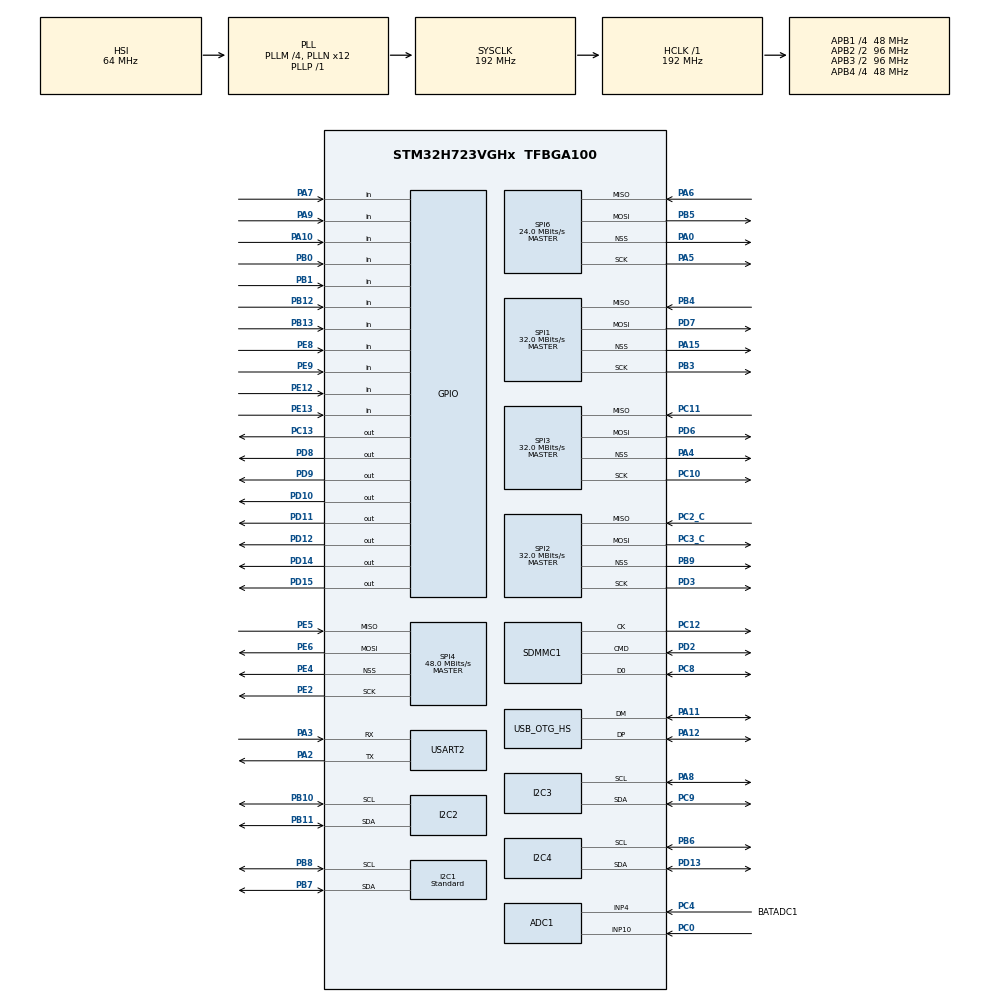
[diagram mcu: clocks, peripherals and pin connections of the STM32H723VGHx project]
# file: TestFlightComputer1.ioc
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ADC1.Channel-5\#ChannelRegularConversion=ADC_CHANNEL_4
ADC1.NbrOfConversionFlag=1
ADC1.OffsetNumber-5\#ChannelRegularConversion=ADC_OFFSET_NONE
ADC1.OffsetSignedSaturation-5\#ChannelRegularConversion=DISABLE
ADC1.Rank-5\#ChannelRegularConversion=1
ADC1.SamplingTime-5\#ChannelRegularConversion=ADC_SAMPLETIME_1CYCLE_5
ADC1.master=1
I2C1.I2C_Speed_Mode=I2C_Standard
I2C1.OwnAddress=0x77
I2C1.Timing=0x20303E5D
I2C2.OwnAddress=0x77
I2C2.Timing=0x20303E5D
I2C3.OwnAddress=0x77
I2C3.Timing=0x20303E5D
I2C4.Timing=0x20303E5D
Mcu.Family=STM32H7
Mcu.Name=STM32H723VGHx
Mcu.Package=TFBGA100
NVIC.PriorityGroup=NVIC_PRIORITYGROUP_4
PA0.Mode=NSS_Signal_Hard_Output
PA0.Signal=SPI6_NSS
PA10.Signal=GPIO_Input
PA11.Mode=Device_Only_FS
PA11.Signal=USB_OTG_HS_DM
PA12.Mode=Device_Only_FS
PA12.Signal=USB_OTG_HS_DP
PA13(JTMS/SWDIO).Mode=Serial_Wire
PA13(JTMS/SWDIO).Signal=DEBUG_JTMS-SWDIO
PA14(JTCK/SWCLK).Mode=Serial_Wire
PA14(JTCK/SWCLK).Signal=DEBUG_JTCK-SWCLK
PA15(JTDI).Mode=NSS_Signal_Hard_Output
PA15(JTDI).Signal=SPI1_NSS
PA2.Mode=Asynchronous
PA2.Signal=USART2_TX
PA3.Mode=Asynchronous
PA3.Signal=USART2_RX
PA4.Mode=NSS_Signal_Hard_Output
PA4.Signal=SPI3_NSS
PA5.Mode=Full_Duplex_Master
PA5.Signal=SPI6_SCK
PA6.Mode=Full_Duplex_Master
PA6.Signal=SPI6_MISO
PA7.Signal=GPIO_Input
PA8.Mode=I2C
PA8.Signal=I2C3_SCL
PA9.Signal=GPIO_Input
PB0.Signal=GPIO_Input
PB1.Signal=GPIO_Input
PB10.Mode=I2C
PB10.Signal=I2C2_SCL
PB11.Mode=I2C
PB11.Signal=I2C2_SDA
PB12.Signal=GPIO_Input
PB13.Signal=GPIO_Input
PB3(JTDO/TRACESWO).Mode=Full_Duplex_Master
PB3(JTDO/TRACESWO).Signal=SPI1_SCK
PB4(NJTRST).Mode=Full_Duplex_Master
PB4(NJTRST).Signal=SPI1_MISO
PB5.Mode=Full_Duplex_Master
PB5.Signal=SPI6_MOSI
PB6.Mode=I2C
PB6.Signal=I2C4_SCL
PB7.Mode=I2C
PB7.Signal=I2C1_SDA
PB8.Mode=I2C
PB8.Signal=I2C1_SCL
PB9.Mode=NSS_Signal_Hard_Output
PB9.Signal=SPI2_NSS
PC0.Signal=ADCx_INP10
PC10.Mode=Full_Duplex_Master
PC10.Signal=SPI3_SCK
PC11.Mode=Full_Duplex_Master
PC11.Signal=SPI3_MISO
PC12.Mode=mmc_1_bit
PC12.Signal=SDMMC1_CK
PC13.Signal=GPIO_Output
PC14-OSC32_IN.Mode=LSE-External-Oscillator
PC14-OSC32_IN.Signal=RCC_OSC32_IN
PC15-OSC32_OUT.Mode=LSE-External-Oscillator
PC15-OSC32_OUT.Signal=RCC_OSC32_OUT
PC2_C.Mode=Full_Duplex_Master
PC2_C.Signal=SPI2_MISO
PC3_C.Mode=Full_Duplex_Master
PC3_C.Signal=SPI2_MOSI
PC4.GPIO_Label=BATADC1
PC4.Signal=ADCx_INP4
PC8.Mode=mmc_1_bit
PC8.Signal=SDMMC1_D0
PC9.Mode=I2C
PC9.Signal=I2C3_SDA
PD10.Signal=GPIO_Output
PD11.Signal=GPIO_Output
PD12.Signal=GPIO_Output
PD13.Mode=I2C
PD13.Signal=I2C4_SDA
PD14.Signal=GPIO_Output
PD15.Signal=GPIO_Output
PD2.Mode=mmc_1_bit
PD2.Signal=SDMMC1_CMD
PD3.Mode=Full_Duplex_Master
PD3.Signal=SPI2_SCK
PD6.Mode=Full_Duplex_Master
PD6.Signal=SPI3_MOSI
PD7.Mode=Full_Duplex_Master
PD7.Signal=SPI1_MOSI
PD8.Signal=GPIO_Output
PD9.Signal=GPIO_Output
PE12.Signal=GPIO_Input
PE13.Signal=GPIO_Input
PE2.Mode=Full_Duplex_Master
PE2.Signal=SPI4_SCK
PE4.Mode=NSS_Signal_Hard_Output
PE4.Signal=SPI4_NSS
PE5.Mode=Full_Duplex_Master
PE5.Signal=SPI4_MISO
PE6.Mode=Full_Duplex_Master
PE6.Signal=SPI4_MOSI
PE8.Signal=GPIO_Input
PE9.Signal=GPIO_Input
PH0-OSC_IN.Mode=HSE-External-Oscillator
PH0-OSC_IN.Signal=RCC_OSC_IN
PH1-OSC_OUT.Mode=HSE-External-Oscillator
PH1-OSC_OUT.Signal=RCC_OSC_OUT
ProjectManager.HeapSize=0x200
ProjectManager.StackSize=0x400
ProjectManager.TargetToolchain=STM32CubeIDE
RCC.ADCFreq_Value=48000000
RCC.APB1Freq_Value=48000000
RCC.APB2Freq_Value=96000000
RCC.APB3Freq_Value=96000000
RCC.APB4Freq_Value=48000000
RCC.CortexFreq_Value=192000000
RCC.D1PPRE=RCC_APB3_DIV2
RCC.D2PPRE1=RCC_APB1_DIV4
RCC.D2PPRE2=RCC_APB2_DIV2
RCC.D3PPRE=RCC_APB4_DIV4
RCC.DIVM1=4
RCC.DIVM2=4
RCC.DIVN1=12
RCC.DIVN2=12
RCC.DIVP1=1
RCC.DIVP2=4
RCC.DIVQ1=1
RCC.HCLKFreq_Value=192000000
RCC.HSE_VALUE=25000000
RCC.PLL2_VCI_Range-AdvancedSettings=RCC_PLL2VCIRANGE_3
RCC.PLL2_VCO_SEL-AdvancedSettings=RCC_PLL2VCOMEDIUM
RCC.PLL3_VCI_Range-AdvancedSettings=RCC_PLL3VCIRANGE_3
RCC.SDMMC1CLockSelection=RCC_SDMMCCLKSOURCE_PLL2
RCC.SPI123CLockSelection=RCC_SPI123CLKSOURCE_CLKP
RCC.SYSCLKFreq_VALUE=192000000
RCC.SYSCLKSource=RCC_SYSCLKSOURCE_PLLCLK
RCC.USBCLockSelection=RCC_USBCLKSOURCE_HSI48
RCC.USBFreq_Value=48000000
SH.ADCx_INP10.0=ADC1_INP10,IN10-Single-Ended
SH.ADCx_INP4.0=ADC1_INP4,IN4-Single-Ended
SPI1.CalculateBaudRate=32.0 MBits/s
SPI1.Direction=SPI_DIRECTION_2LINES
SPI1.Mode=SPI_MODE_MASTER
SPI1.TIMode=SPI_TIMODE_DISABLE
SPI1.VirtualNSS=VM_NSSHARD
SPI1.VirtualType=VM_MASTER
SPI2.CalculateBaudRate=32.0 MBits/s
SPI2.Direction=SPI_DIRECTION_2LINES
SPI2.Mode=SPI_MODE_MASTER
SPI2.VirtualNSS=VM_NSSHARD
SPI2.VirtualType=VM_MASTER
SPI3.CalculateBaudRate=32.0 MBits/s
SPI3.DataSize=SPI_DATASIZE_4BIT
SPI3.Direction=SPI_DIRECTION_2LINES
SPI3.Mode=SPI_MODE_MASTER
SPI3.VirtualNSS=VM_NSSHARD
SPI3.VirtualType=VM_MASTER
SPI4.CalculateBaudRate=48.0 MBits/s
SPI4.Direction=SPI_DIRECTION_2LINES
SPI4.Mode=SPI_MODE_MASTER
SPI4.VirtualNSS=VM_NSSHARD
SPI4.VirtualType=VM_MASTER
SPI6.CalculateBaudRate=24.0 MBits/s
SPI6.Direction=SPI_DIRECTION_2LINES
SPI6.Mode=SPI_MODE_MASTER
SPI6.VirtualNSS=VM_NSSHARD
SPI6.VirtualType=VM_MASTER
USART2.VirtualMode-Asynchronous=VM_ASYNC
USB_OTG_HS.VirtualMode-Device_Only_FS=Device_Only_FS
VP_CORDIC_VS_CORDIC.Mode=CORDIC_Activate
VP_CRC_VS_CRC.Mode=CRC_Activate
VP_FATFS_VS_Generic.Mode=User_defined
VP_FMAC_VS_FMAC.Mode=FMAC_Activate
VP_RNG_VS_RNG.Mode=RNG_Activate
board=custom

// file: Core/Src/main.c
/* USER CODE BEGIN Header */
/**
  ******************************************************************************
  * @file           : main.c
  * @brief          : Main program body
  ******************************************************************************
  * @attention
  *
  * Copyright (c) 2024 STMicroelectronics.
  * All rights reserved.
  *
  * This software is licensed under terms that can be found in the LICENSE file
  * in the root directory of this software component.
  * If no LICENSE file comes with this software, it is provided AS-IS.
  *
  ******************************************************************************
  */
/* USER CODE END Header */
#include <stdio.h>
#include "main.h"
#include "fatfs.h"
#include "GNSS.h"
#include "MS5611.h"
#include "adxl375.h"

/* USER CODE BEGIN PD */
#define X 0.90f //0-1 Filter Variable
/* USER CODE END PD */

#define MMC_DEFAULT_BLOCK_SIZE 512

extern uint8_t tim7_10ms_flag;
ADC_HandleTypeDef hadc1;

CORDIC_HandleTypeDef hcordic;

CRC_HandleTypeDef hcrc;

FMAC_HandleTypeDef hfmac;

I2C_HandleTypeDef hi2c1;
I2C_HandleTypeDef hi2c2;
I2C_HandleTypeDef hi2c3;
I2C_HandleTypeDef hi2c4;

RNG_HandleTypeDef hrng;

MMC_HandleTypeDef hmmc1;

SPI_HandleTypeDef hspi1;
SPI_HandleTypeDef hspi2;
SPI_HandleTypeDef hspi3;
SPI_HandleTypeDef hspi4;
SPI_HandleTypeDef hspi6;

UART_HandleTypeDef huart2;

PCD_HandleTypeDef hpcd_USB_OTG_HS;

/* USER CODE BEGIN PV */
//setup UART Buffer!
uint8_t rxBuffer[100]; // Adjust the size as per your requirement
uint8_t rxData;
uint8_t rxBufferIndex = 0;
#define BUFFER_SIZE 100 // Adjust buffer size as needed
/* USER CODE END PV */

void SystemClock_Config(void);
void PeriphCommonClock_Config(void);
static void MX_GPIO_Init(void);
static void MX_CORDIC_Init(void);
static void MX_CRC_Init(void);
static void MX_FMAC_Init(void);
static void MX_I2C1_Init(void);
static void MX_I2C2_Init(void);
static void MX_I2C3_Init(void);
static void MX_I2C4_Init(void);
static void MX_RNG_Init(void);
static void MX_SDMMC1_MMC_Init(void);
static void MX_SPI1_Init(void);
static void MX_SPI2_Init(void);
static void MX_SPI3_Init(void);
static void MX_SPI4_Init(void);
static void MX_SPI6_Init(void);
static void MX_USB_OTG_HS_PCD_Init(void);
static void MX_ADC1_Init(void);
static void MX_USART2_UART_Init(void);

/* USER CODE BEGIN 0 */
// EMMC FILE NAME SET
char filename[20];
/* USER CODE END 0 */

int main(void)
{

  /* MCU Configuration--------------------------------------------------------*/

  /* Reset of all peripherals, Initializes the Flash interface and the Systick. */
  HAL_Init();

  /* Configure the system clock */
  SystemClock_Config();

/* Configure the peripherals common clocks */
  PeriphCommonClock_Config();

  /* Initialize all configured peripherals */
  MX_GPIO_Init();
  MX_CORDIC_Init();
  MX_CRC_Init();
  MX_FMAC_Init();
  MX_I2C1_Init();
  MX_I2C2_Init();
  MX_I2C3_Init();
  MX_I2C4_Init();
  MX_RNG_Init();
  MX_SDMMC1_MMC_Init();
  MX_SPI1_Init();
  MX_SPI2_Init();
  MX_SPI3_Init();
  MX_SPI4_Init();
  MX_SPI6_Init();
  MX_USB_OTG_HS_PCD_Init();
  MX_ADC1_Init();
  MX_USART2_UART_Init();
  //Setup UART
  HAL_UART_Receive_IT(&huart2, &rxData, 1);

  //Setup EMMC!
  MX_FATFS_Init();
  FILINFO fno;
  FRESULT result;
  for (int idx = 1; idx < 100; idx++)
  {
	printf("%s", filename);
	snprintf(USERPath, 20, "FILENAME%d.txt", idx);
	result = f_stat(USERPath, &fno);
	if (result != FR_OK)
	{
	  Error_Handler();
	}
	else if (result == FR_NO_FILE)
	{
	  break;
	}
  }

  /* USER CODE BEGIN 2 */
  // SPI CS PULLDOWN CODE!
//PA0,PA4,PE4,PB9, low, PA15 / PC13 switches low = active
  //This happens automatically(??)

  MS5611_Reset(&hi2c1, &MS5611);
  MS5611_ReadProm(&hi2c1, &MS5611);
  MS5611_Reset(&hi2c2, &MS5611_2);
  MS5611_ReadProm(&hi2c2, &MS5611_2);
  MS5611_Reset(&hi2c3, &MS5611_3);
  MS5611_ReadProm(&hi2c3, &MS5611_3);

   GNSS_Init(&GNSS_Handle, &hi2c4);
  HAL_Delay(1000);
  GNSS_LoadConfig(&GNSS_Handle);
  uint32_t Timer = HAL_GetTick();
  /* USER CODE END 2 */

  /* Infinite loop */
  while (1)
  {
//MS5611 ACCURATE
	  MS5611_RequestTemperature(&hi2c1,OSR_4096);
	  MS5611_ReadTemperature(&hi2c1,&MS5611);
	  MS5611_CalculateTemperature(&MS5611);
	  MS5611_RequestPressure(&hi2c1, OSR_4096);
	  MS5611_ReadPressure(&hi2c1,&MS5611);
	  MS5611_CalculatePressure(&MS5611);
	  MS5611.Alt = (MS5611_getAltitude1((float)MS5611.P/100.f))*100;

	  MS5611.Alt_Filt = MS5611.Alt_Filt * X + MS5611.Alt * (1.0f-X);

//MS5611 Fast
	  MS5611_RequestTemperature(&hi2c2,OSR_256);
	  MS5611_ReadTemperature(&hi2c2,&MS5611_2);
	  MS5611_CalculateTemperature(&MS5611_2);
	  MS5611_RequestPressure(&hi2c2, OSR_256);
	  MS5611_ReadPressure(&hi2c2,&MS5611_2);
	  MS5611_CalculatePressure(&MS5611_2);
	  MS5611_2.Alt = (MS5611_getAltitude1((float)MS5611_2.P/100.f))*100;

	  MS5611_2.Alt_Filt = MS5611_2.Alt_Filt * X + MS5611_2.Alt * (1.0f-X);

// MS5607!!
	  MS5611_RequestTemperature(&hi2c3,OSR_256);
	  MS5611_ReadTemperature(&hi2c3,&MS5611_3);
	  MS5611_CalculateTemperature(&MS5611_3);
	  MS5611_RequestPressure(&hi2c3, OSR_256);
	  MS5611_ReadPressure(&hi2c3,&MS5611_3);
	  MS5611_CalculatePressure(&MS5611_3);
	  MS5611_3.Alt = (MS5611_getAltitude1((float)MS5611_3.P/100.f))*100;

	  MS5611_3.Alt_Filt = MS5611_3.Alt_Filt * X + MS5611_3.Alt * (1.0f-X);

// ADXL375 x 3
	  adxl375_readings adxl1 = adxl1_read();
	  adxl375_readings adxl2 = adxl2_read();
	  adxl375_readings adxl3 = adxl3_read();

	  if ((HAL_GetTick() - Timer) > 1000) {
	  			GNSS_GetUniqID(&GNSS_Handle);
	  			GNSS_ParseBuffer(&GNSS_Handle);
	  			HAL_Delay(250);
	  			GNSS_GetPVTData(&GNSS_Handle);
	  			GNSS_ParseBuffer(&GNSS_Handle);
	  			/*printf("Day: %d-%d-%d \r\n", GNSS_Handle.day, GNSS_Handle.month,GNSS_Handle.year);
	  			printf("Time: %d:%d:%d \r\n", GNSS_Handle.hour, GNSS_Handle.min,GNSS_Handle.sec);
	  			printf("Status of fix: %d \r\n", GNSS_Handle.fixType);
	  			printf("Latitude: %f \r\n", GNSS_Handle.fLat);
	  			printf("Longitude: %f \r\n",(float) GNSS_Handle.lon / 10000000.0);
	  			printf("Height above ellipsoid: %d \r\n", GNSS_Handle.height);
	  			printf("Height above mean sea level: %d \r\n", GNSS_Handle.hMSL);
	  			printf("Ground Speed (2-D): %d \r\n", GNSS_Handle.gSpeed);
	  			printf("Unique ID: %04X %04X %04X %04X %04X \n\r",
	  					GNSS_Handle.uniqueID[0], GNSS_Handle.uniqueID[1],
	  					GNSS_Handle.uniqueID[2], GNSS_Handle.uniqueID[3],
	  					GNSS_Handle.uniqueID[4], GNSS_Handle.uniqueID[5]);*/
	  			Timer = HAL_GetTick();
	  		}
  }
}

void SystemClock_Config(void)
{
  RCC_OscInitTypeDef RCC_OscInitStruct = {0};
  RCC_ClkInitTypeDef RCC_ClkInitStruct = {0};

  /** Supply configuration update enable
  */
  HAL_PWREx_ConfigSupply(PWR_LDO_SUPPLY);

  /** Configure the main internal regulator output voltage
  */
  __HAL_PWR_VOLTAGESCALING_CONFIG(PWR_REGULATOR_VOLTAGE_SCALE2);

  while(!__HAL_PWR_GET_FLAG(PWR_FLAG_VOSRDY)) {}

  /** Initializes the RCC Oscillators according to the specified parameters
  * in the RCC_OscInitTypeDef structure.
  */
  RCC_OscInitStruct.OscillatorType = RCC_OSCILLATORTYPE_HSI48|RCC_OSCILLATORTYPE_HSI;
  RCC_OscInitStruct.HSIState = RCC_HSI_DIV1;
  RCC_OscInitStruct.HSICalibrationValue = 64;
  RCC_OscInitStruct.HSI48State = RCC_HSI48_ON;
  RCC_OscInitStruct.PLL.PLLState = RCC_PLL_ON;
  RCC_OscInitStruct.PLL.PLLSource = RCC_PLLSOURCE_HSI;
  RCC_OscInitStruct.PLL.PLLM = 4;
  RCC_OscInitStruct.PLL.PLLN = 12;
  RCC_OscInitStruct.PLL.PLLP = 1;
  RCC_OscInitStruct.PLL.PLLQ = 1;
  RCC_OscInitStruct.PLL.PLLR = 2;
  RCC_OscInitStruct.PLL.PLLRGE = RCC_PLL1VCIRANGE_3;
  RCC_OscInitStruct.PLL.PLLVCOSEL = RCC_PLL1VCOWIDE;
  RCC_OscInitStruct.PLL.PLLFRACN = 0;
  if (HAL_RCC_OscConfig(&RCC_OscInitStruct) != HAL_OK)
  {
    Error_Handler();
  }

  /** Initializes the CPU, AHB and APB buses clocks
  */
  RCC_ClkInitStruct.ClockType = RCC_CLOCKTYPE_HCLK|RCC_CLOCKTYPE_SYSCLK
                              |RCC_CLOCKTYPE_PCLK1|RCC_CLOCKTYPE_PCLK2
                              |RCC_CLOCKTYPE_D3PCLK1|RCC_CLOCKTYPE_D1PCLK1;
  RCC_ClkInitStruct.SYSCLKSource = RCC_SYSCLKSOURCE_PLLCLK;
  RCC_ClkInitStruct.SYSCLKDivider = RCC_SYSCLK_DIV1;
  RCC_ClkInitStruct.AHBCLKDivider = RCC_HCLK_DIV1;
  RCC_ClkInitStruct.APB3CLKDivider = RCC_APB3_DIV2;
  RCC_ClkInitStruct.APB1CLKDivider = RCC_APB1_DIV4;
  RCC_ClkInitStruct.APB2CLKDivider = RCC_APB2_DIV2;
  RCC_ClkInitStruct.APB4CLKDivider = RCC_APB4_DIV4;

  if (HAL_RCC_ClockConfig(&RCC_ClkInitStruct, FLASH_LATENCY_0) != HAL_OK)
  {
    Error_Handler();
  }
}

void PeriphCommonClock_Config(void)
{
  RCC_PeriphCLKInitTypeDef PeriphClkInitStruct = {0};

  /** Initializes the peripherals clock
  */
  PeriphClkInitStruct.PeriphClockSelection = RCC_PERIPHCLK_ADC|RCC_PERIPHCLK_SDMMC
                              |RCC_PERIPHCLK_CKPER;
  PeriphClkInitStruct.PLL2.PLL2M = 4;
  PeriphClkInitStruct.PLL2.PLL2N = 12;
  PeriphClkInitStruct.PLL2.PLL2P = 4;
  PeriphClkInitStruct.PLL2.PLL2Q = 2;
  PeriphClkInitStruct.PLL2.PLL2R = 2;
  PeriphClkInitStruct.PLL2.PLL2RGE = RCC_PLL2VCIRANGE_3;
  PeriphClkInitStruct.PLL2.PLL2VCOSEL = RCC_PLL2VCOWIDE;
  PeriphClkInitStruct.PLL2.PLL2FRACN = 0;
  PeriphClkInitStruct.SdmmcClockSelection = RCC_SDMMCCLKSOURCE_PLL2;
  PeriphClkInitStruct.CkperClockSelection = RCC_CLKPSOURCE_HSI;
  PeriphClkInitStruct.AdcClockSelection = RCC_ADCCLKSOURCE_PLL2;
  if (HAL_RCCEx_PeriphCLKConfig(&PeriphClkInitStruct) != HAL_OK)
  {
    Error_Handler();
  }
}

static void MX_ADC1_Init(void)
{

  ADC_MultiModeTypeDef multimode = {0};
  ADC_ChannelConfTypeDef sConfig = {0};

  /** Common config
  */
  hadc1.Instance = ADC1;
  hadc1.Init.ClockPrescaler = ADC_CLOCK_ASYNC_DIV1;
  hadc1.Init.Resolution = ADC_RESOLUTION_16B;
  hadc1.Init.ScanConvMode = ADC_SCAN_DISABLE;
  hadc1.Init.EOCSelection = ADC_EOC_SINGLE_CONV;
  hadc1.Init.LowPowerAutoWait = DISABLE;
  hadc1.Init.ContinuousConvMode = DISABLE;
  hadc1.Init.NbrOfConversion = 1;
  hadc1.Init.DiscontinuousConvMode = DISABLE;
  hadc1.Init.ExternalTrigConv = ADC_SOFTWARE_START;
  hadc1.Init.ExternalTrigConvEdge = ADC_EXTERNALTRIGCONVEDGE_NONE;
  hadc1.Init.ConversionDataManagement = ADC_CONVERSIONDATA_DR;
  hadc1.Init.Overrun = ADC_OVR_DATA_PRESERVED;
  hadc1.Init.LeftBitShift = ADC_LEFTBITSHIFT_NONE;
  hadc1.Init.OversamplingMode = DISABLE;
  if (HAL_ADC_Init(&hadc1) != HAL_OK)
  {
    Error_Handler();
  }

  /** Configure the ADC multi-mode
  */
  multimode.Mode = ADC_MODE_INDEPENDENT;
  if (HAL_ADCEx_MultiModeConfigChannel(&hadc1, &multimode) != HAL_OK)
  {
    Error_Handler();
  }

  /** Configure Regular Channel
  */
  sConfig.Channel = ADC_CHANNEL_4;
  sConfig.Rank = ADC_REGULAR_RANK_1;
  sConfig.SamplingTime = ADC_SAMPLETIME_1CYCLE_5;
  sConfig.SingleDiff = ADC_SINGLE_ENDED;
  sConfig.OffsetNumber = ADC_OFFSET_NONE;
  sConfig.Offset = 0;
  sConfig.OffsetSignedSaturation = DISABLE;
  if (HAL_ADC_ConfigChannel(&hadc1, &sConfig) != HAL_OK)
  {
    Error_Handler();
  }

}

static void MX_CORDIC_Init(void)
{

  hcordic.Instance = CORDIC;
  if (HAL_CORDIC_Init(&hcordic) != HAL_OK)
  {
    Error_Handler();
  }

}

static void MX_CRC_Init(void)
{

  hcrc.Instance = CRC;
  hcrc.Init.DefaultPolynomialUse = DEFAULT_POLYNOMIAL_ENABLE;
  hcrc.Init.DefaultInitValueUse = DEFAULT_INIT_VALUE_ENABLE;
  hcrc.Init.InputDataInversionMode = CRC_INPUTDATA_INVERSION_NONE;
  hcrc.Init.OutputDataInversionMode = CRC_OUTPUTDATA_INVERSION_DISABLE;
  hcrc.InputDataFormat = CRC_INPUTDATA_FORMAT_BYTES;
  if (HAL_CRC_Init(&hcrc) != HAL_OK)
  {
    Error_Handler();
  }

}

static void MX_FMAC_Init(void)
{

  hfmac.Instance = FMAC;
  if (HAL_FMAC_Init(&hfmac) != HAL_OK)
  {
    Error_Handler();
  }

}

static void MX_I2C1_Init(void)
{

  hi2c1.Instance = I2C1;
  hi2c1.Init.Timing = 0x20303E5D;
  hi2c1.Init.OwnAddress1 = 238;
  hi2c1.Init.AddressingMode = I2C_ADDRESSINGMODE_7BIT;
  hi2c1.Init.DualAddressMode = I2C_DUALADDRESS_DISABLE;
  hi2c1.Init.OwnAddress2 = 0;
  hi2c1.Init.OwnAddress2Masks = I2C_OA2_NOMASK;
  hi2c1.Init.GeneralCallMode = I2C_GENERALCALL_DISABLE;
  hi2c1.Init.NoStretchMode = I2C_NOSTRETCH_DISABLE;
  if (HAL_I2C_Init(&hi2c1) != HAL_OK)
  {
    Error_Handler();
  }

  /** Configure Analogue filter
  */
  if (HAL_I2CEx_ConfigAnalogFilter(&hi2c1, I2C_ANALOGFILTER_ENABLE) != HAL_OK)
  {
    Error_Handler();
  }

  /** Configure Digital filter
  */
  if (HAL_I2CEx_ConfigDigitalFilter(&hi2c1, 0) != HAL_OK)
  {
    Error_Handler();
  }

}

static void MX_I2C2_Init(void)
{

  hi2c2.Instance = I2C2;
  hi2c2.Init.Timing = 0x20303E5D;
  hi2c2.Init.OwnAddress1 = 238;
  hi2c2.Init.AddressingMode = I2C_ADDRESSINGMODE_7BIT;
  hi2c2.Init.DualAddressMode = I2C_DUALADDRESS_DISABLE;
  hi2c2.Init.OwnAddress2 = 0;
  hi2c2.Init.OwnAddress2Masks = I2C_OA2_NOMASK;
  hi2c2.Init.GeneralCallMode = I2C_GENERALCALL_DISABLE;
  hi2c2.Init.NoStretchMode = I2C_NOSTRETCH_DISABLE;
  if (HAL_I2C_Init(&hi2c2) != HAL_OK)
  {
    Error_Handler();
  }

  /** Configure Analogue filter
  */
  if (HAL_I2CEx_ConfigAnalogFilter(&hi2c2, I2C_ANALOGFILTER_ENABLE) != HAL_OK)
  {
    Error_Handler();
  }

  /** Configure Digital filter
  */
  if (HAL_I2CEx_ConfigDigitalFilter(&hi2c2, 0) != HAL_OK)
  {
    Error_Handler();
  }

}

static void MX_I2C3_Init(void)
{

  hi2c3.Instance = I2C3;
  hi2c3.Init.Timing = 0x20303E5D;
  hi2c3.Init.OwnAddress1 = 238;
  hi2c3.Init.AddressingMode = I2C_ADDRESSINGMODE_7BIT;
  hi2c3.Init.DualAddressMode = I2C_DUALADDRESS_DISABLE;
  hi2c3.Init.OwnAddress2 = 0;
  hi2c3.Init.OwnAddress2Masks = I2C_OA2_NOMASK;
  hi2c3.Init.GeneralCallMode = I2C_GENERALCALL_DISABLE;
  hi2c3.Init.NoStretchMode = I2C_NOSTRETCH_DISABLE;
  if (HAL_I2C_Init(&hi2c3) != HAL_OK)
  {
    Error_Handler();
  }

  /** Configure Analogue filter
  */
  if (HAL_I2CEx_ConfigAnalogFilter(&hi2c3, I2C_ANALOGFILTER_ENABLE) != HAL_OK)
  {
    Error_Handler();
  }

  /** Configure Digital filter
  */
  if (HAL_I2CEx_ConfigDigitalFilter(&hi2c3, 0) != HAL_OK)
  {
    Error_Handler();
  }

}

static void MX_I2C4_Init(void)
{

  hi2c4.Instance = I2C4;
  hi2c4.Init.Timing = 0x20303E5D;
  hi2c4.Init.OwnAddress1 = 0;
  hi2c4.Init.AddressingMode = I2C_ADDRESSINGMODE_7BIT;
  hi2c4.Init.DualAddressMode = I2C_DUALADDRESS_DISABLE;
  hi2c4.Init.OwnAddress2 = 0;
  hi2c4.Init.OwnAddress2Masks = I2C_OA2_NOMASK;
  hi2c4.Init.GeneralCallMode = I2C_GENERALCALL_DISABLE;
  hi2c4.Init.NoStretchMode = I2C_NOSTRETCH_DISABLE;
  if (HAL_I2C_Init(&hi2c4) != HAL_OK)
  {
    Error_Handler();
  }

  /** Configure Analogue filter
  */
  if (HAL_I2CEx_ConfigAnalogFilter(&hi2c4, I2C_ANALOGFILTER_ENABLE) != HAL_OK)
  {
    Error_Handler();
  }

  /** Configure Digital filter
  */
  if (HAL_I2CEx_ConfigDigitalFilter(&hi2c4, 0) != HAL_OK)
  {
    Error_Handler();
  }

}

static void MX_RNG_Init(void)
{

  hrng.Instance = RNG;
  hrng.Init.ClockErrorDetection = RNG_CED_ENABLE;
  if (HAL_RNG_Init(&hrng) != HAL_OK)
  {
    Error_Handler();
  }

}

static void MX_SDMMC1_MMC_Init(void)
{

  hmmc1.Instance = SDMMC1;
  hmmc1.Init.ClockEdge = SDMMC_CLOCK_EDGE_RISING;
  hmmc1.Init.ClockPowerSave = SDMMC_CLOCK_POWER_SAVE_DISABLE;
  hmmc1.Init.BusWide = SDMMC_BUS_WIDE_1B;
  hmmc1.Init.HardwareFlowControl = SDMMC_HARDWARE_FLOW_CONTROL_DISABLE;
  hmmc1.Init.ClockDiv = 0;
  if (HAL_MMC_Init(&hmmc1) != HAL_OK)
  {
    Error_Handler();
  }

}

static void MX_SPI1_Init(void)
{

  /* SPI1 parameter configuration*/
  hspi1.Instance = SPI1;
  hspi1.Init.Mode = SPI_MODE_MASTER;
  hspi1.Init.Direction = SPI_DIRECTION_2LINES;
  hspi1.Init.DataSize = SPI_DATASIZE_4BIT;
  hspi1.Init.CLKPolarity = SPI_POLARITY_LOW;
  hspi1.Init.CLKPhase = SPI_PHASE_1EDGE;
  hspi1.Init.NSS = SPI_NSS_HARD_OUTPUT;
  hspi1.Init.BaudRatePrescaler = SPI_BAUDRATEPRESCALER_2;
  hspi1.Init.FirstBit = SPI_FIRSTBIT_MSB;
  hspi1.Init.TIMode = SPI_TIMODE_DISABLE;
  hspi1.Init.CRCCalculation = SPI_CRCCALCULATION_DISABLE;
  hspi1.Init.CRCPolynomial = 0x0;
  hspi1.Init.NSSPMode = SPI_NSS_PULSE_ENABLE;
  hspi1.Init.NSSPolarity = SPI_NSS_POLARITY_LOW;
  hspi1.Init.FifoThreshold = SPI_FIFO_THRESHOLD_01DATA;
  hspi1.Init.TxCRCInitializationPattern = SPI_CRC_INITIALIZATION_ALL_ZERO_PATTERN;
  hspi1.Init.RxCRCInitializationPattern = SPI_CRC_INITIALIZATION_ALL_ZERO_PATTERN;
  hspi1.Init.MasterSSIdleness = SPI_MASTER_SS_IDLENESS_00CYCLE;
  hspi1.Init.MasterInterDataIdleness = SPI_MASTER_INTERDATA_IDLENESS_00CYCLE;
  hspi1.Init.MasterReceiverAutoSusp = SPI_MASTER_RX_AUTOSUSP_DISABLE;
  hspi1.Init.MasterKeepIOState = SPI_MASTER_KEEP_IO_STATE_DISABLE;
  hspi1.Init.IOSwap = SPI_IO_SWAP_DISABLE;
  if (HAL_SPI_Init(&hspi1) != HAL_OK)
  {
    Error_Handler();
  }

}

static void MX_SPI2_Init(void)
{

  /* SPI2 parameter configuration*/
  hspi2.Instance = SPI2;
  hspi2.Init.Mode = SPI_MODE_MASTER;
  hspi2.Init.Direction = SPI_DIRECTION_2LINES;
  hspi2.Init.DataSize = SPI_DATASIZE_4BIT;
  hspi2.Init.CLKPolarity = SPI_POLARITY_LOW;
  hspi2.Init.CLKPhase = SPI_PHASE_1EDGE;
  hspi2.Init.NSS = SPI_NSS_HARD_OUTPUT;
  hspi2.Init.BaudRatePrescaler = SPI_BAUDRATEPRESCALER_2;
  hspi2.Init.FirstBit = SPI_FIRSTBIT_MSB;
  hspi2.Init.TIMode = SPI_TIMODE_DISABLE;
  hspi2.Init.CRCCalculation = SPI_CRCCALCULATION_DISABLE;
  hspi2.Init.CRCPolynomial = 0x0;
  hspi2.Init.NSSPMode = SPI_NSS_PULSE_ENABLE;
  hspi2.Init.NSSPolarity = SPI_NSS_POLARITY_LOW;
  hspi2.Init.FifoThreshold = SPI_FIFO_THRESHOLD_01DATA;
  hspi2.Init.TxCRCInitializationPattern = SPI_CRC_INITIALIZATION_ALL_ZERO_PATTERN;
  hspi2.Init.RxCRCInitializationPattern = SPI_CRC_INITIALIZATION_ALL_ZERO_PATTERN;
  hspi2.Init.MasterSSIdleness = SPI_MASTER_SS_IDLENESS_00CYCLE;
  hspi2.Init.MasterInterDataIdleness = SPI_MASTER_INTERDATA_IDLENESS_00CYCLE;
  hspi2.Init.MasterReceiverAutoSusp = SPI_MASTER_RX_AUTOSUSP_DISABLE;
  hspi2.Init.MasterKeepIOState = SPI_MASTER_KEEP_IO_STATE_DISABLE;
  hspi2.Init.IOSwap = SPI_IO_SWAP_DISABLE;
  if (HAL_SPI_Init(&hspi2) != HAL_OK)
  {
    Error_Handler();
  }

}

static void MX_SPI3_Init(void)
{

  /* SPI3 parameter configuration*/
  hspi3.Instance = SPI3;
  hspi3.Init.Mode = SPI_MODE_MASTER;
  hspi3.Init.Direction = SPI_DIRECTION_2LINES;
  hspi3.Init.DataSize = SPI_DATASIZE_4BIT;
  hspi3.Init.CLKPolarity = SPI_POLARITY_LOW;
  hspi3.Init.CLKPhase = SPI_PHASE_1EDGE;
  hspi3.Init.NSS = SPI_NSS_HARD_OUTPUT;
  hspi3.Init.BaudRatePrescaler = SPI_BAUDRATEPRESCALER_2;
  hspi3.Init.FirstBit = SPI_FIRSTBIT_MSB;
  hspi3.Init.TIMode = SPI_TIMODE_DISABLE;
  hspi3.Init.CRCCalculation = SPI_CRCCALCULATION_DISABLE;
  hspi3.Init.CRCPolynomial = 0x0;
  hspi3.Init.NSSPMode = SPI_NSS_PULSE_ENABLE;
  hspi3.Init.NSSPolarity = SPI_NSS_POLARITY_LOW;
  hspi3.Init.FifoThreshold = SPI_FIFO_THRESHOLD_01DATA;
  hspi3.Init.TxCRCInitializationPattern = SPI_CRC_INITIALIZATION_ALL_ZERO_PATTERN;
  hspi3.Init.RxCRCInitializationPattern = SPI_CRC_INITIALIZATION_ALL_ZERO_PATTERN;
  hspi3.Init.MasterSSIdleness = SPI_MASTER_SS_IDLENESS_00CYCLE;
  hspi3.Init.MasterInterDataIdleness = SPI_MASTER_INTERDATA_IDLENESS_00CYCLE;
  hspi3.Init.MasterReceiverAutoSusp = SPI_MASTER_RX_AUTOSUSP_DISABLE;
  hspi3.Init.MasterKeepIOState = SPI_MASTER_KEEP_IO_STATE_DISABLE;
  hspi3.Init.IOSwap = SPI_IO_SWAP_DISABLE;
  if (HAL_SPI_Init(&hspi3) != HAL_OK)
  {
    Error_Handler();
  }

}

static void MX_SPI4_Init(void)
{

  /* SPI4 parameter configuration*/
  hspi4.Instance = SPI4;
  hspi4.Init.Mode = SPI_MODE_MASTER;
  hspi4.Init.Direction = SPI_DIRECTION_2LINES;
  hspi4.Init.DataSize = SPI_DATASIZE_4BIT;
  hspi4.Init.CLKPolarity = SPI_POLARITY_LOW;
  hspi4.Init.CLKPhase = SPI_PHASE_1EDGE;
  hspi4.Init.NSS = SPI_NSS_HARD_OUTPUT;
  hspi4.Init.BaudRatePrescaler = SPI_BAUDRATEPRESCALER_2;
  hspi4.Init.FirstBit = SPI_FIRSTBIT_MSB;
  hspi4.Init.TIMode = SPI_TIMODE_DISABLE;
  hspi4.Init.CRCCalculation = SPI_CRCCALCULATION_DISABLE;
  hspi4.Init.CRCPolynomial = 0x0;
  hspi4.Init.NSSPMode = SPI_NSS_PULSE_ENABLE;
  hspi4.Init.NSSPolarity = SPI_NSS_POLARITY_LOW;
  hspi4.Init.FifoThreshold = SPI_FIFO_THRESHOLD_01DATA;
  hspi4.Init.TxCRCInitializationPattern = SPI_CRC_INITIALIZATION_ALL_ZERO_PATTERN;
  hspi4.Init.RxCRCInitializationPattern = SPI_CRC_INITIALIZATION_ALL_ZERO_PATTERN;
  hspi4.Init.MasterSSIdleness = SPI_MASTER_SS_IDLENESS_00CYCLE;
  hspi4.Init.MasterInterDataIdleness = SPI_MASTER_INTERDATA_IDLENESS_00CYCLE;
  hspi4.Init.MasterReceiverAutoSusp = SPI_MASTER_RX_AUTOSUSP_DISABLE;
  hspi4.Init.MasterKeepIOState = SPI_MASTER_KEEP_IO_STATE_DISABLE;
  hspi4.Init.IOSwap = SPI_IO_SWAP_DISABLE;
  if (HAL_SPI_Init(&hspi4) != HAL_OK)
  {
    Error_Handler();
  }

}

static void MX_SPI6_Init(void)
{

  /* SPI6 parameter configuration*/
  hspi6.Instance = SPI6;
  hspi6.Init.Mode = SPI_MODE_MASTER;
  hspi6.Init.Direction = SPI_DIRECTION_2LINES;
  hspi6.Init.DataSize = SPI_DATASIZE_4BIT;
  hspi6.Init.CLKPolarity = SPI_POLARITY_LOW;
  hspi6.Init.CLKPhase = SPI_PHASE_1EDGE;
  hspi6.Init.NSS = SPI_NSS_HARD_OUTPUT;
  hspi6.Init.BaudRatePrescaler = SPI_BAUDRATEPRESCALER_2;
  hspi6.Init.FirstBit = SPI_FIRSTBIT_MSB;
  hspi6.Init.TIMode = SPI_TIMODE_DISABLE;
  hspi6.Init.CRCCalculation = SPI_CRCCALCULATION_DISABLE;
  hspi6.Init.CRCPolynomial = 0x0;
  hspi6.Init.NSSPMode = SPI_NSS_PULSE_ENABLE;
  hspi6.Init.NSSPolarity = SPI_NSS_POLARITY_LOW;
  hspi6.Init.FifoThreshold = SPI_FIFO_THRESHOLD_01DATA;
  hspi6.Init.TxCRCInitializationPattern = SPI_CRC_INITIALIZATION_ALL_ZERO_PATTERN;
  hspi6.Init.RxCRCInitializationPattern = SPI_CRC_INITIALIZATION_ALL_ZERO_PATTERN;
  hspi6.Init.MasterSSIdleness = SPI_MASTER_SS_IDLENESS_00CYCLE;
  hspi6.Init.MasterInterDataIdleness = SPI_MASTER_INTERDATA_IDLENESS_00CYCLE;
  hspi6.Init.MasterReceiverAutoSusp = SPI_MASTER_RX_AUTOSUSP_DISABLE;
  hspi6.Init.MasterKeepIOState = SPI_MASTER_KEEP_IO_STATE_DISABLE;
  hspi6.Init.IOSwap = SPI_IO_SWAP_DISABLE;
  if (HAL_SPI_Init(&hspi6) != HAL_OK)
  {
    Error_Handler();
  }

}

static void MX_USART2_UART_Init(void)
{

  huart2.Instance = USART2;
  huart2.Init.BaudRate = 115200;
  huart2.Init.WordLength = UART_WORDLENGTH_8B;
  huart2.Init.StopBits = UART_STOPBITS_1;
  huart2.Init.Parity = UART_PARITY_NONE;
  huart2.Init.Mode = UART_MODE_TX_RX;
  huart2.Init.HwFlowCtl = UART_HWCONTROL_NONE;
  huart2.Init.OverSampling = UART_OVERSAMPLING_16;
  huart2.Init.OneBitSampling = UART_ONE_BIT_SAMPLE_DISABLE;
  huart2.Init.ClockPrescaler = UART_PRESCALER_DIV1;
  huart2.AdvancedInit.AdvFeatureInit = UART_ADVFEATURE_NO_INIT;
  if (HAL_UART_Init(&huart2) != HAL_OK)
  {
    Error_Handler();
  }
  if (HAL_UARTEx_SetTxFifoThreshold(&huart2, UART_TXFIFO_THRESHOLD_1_8) != HAL_OK)
  {
    Error_Handler();
  }
  if (HAL_UARTEx_SetRxFifoThreshold(&huart2, UART_RXFIFO_THRESHOLD_1_8) != HAL_OK)
  {
    Error_Handler();
  }
  if (HAL_UARTEx_DisableFifoMode(&huart2) != HAL_OK)
  {
    Error_Handler();
  }

}

static void MX_USB_OTG_HS_PCD_Init(void)
{

  hpcd_USB_OTG_HS.Instance = USB_OTG_HS;
  hpcd_USB_OTG_HS.Init.dev_endpoints = 9;
  hpcd_USB_OTG_HS.Init.speed = PCD_SPEED_FULL;
  hpcd_USB_OTG_HS.Init.dma_enable = DISABLE;
  hpcd_USB_OTG_HS.Init.phy_itface = USB_OTG_EMBEDDED_PHY;
  hpcd_USB_OTG_HS.Init.Sof_enable = DISABLE;
  hpcd_USB_OTG_HS.Init.low_power_enable = DISABLE;
  hpcd_USB_OTG_HS.Init.lpm_enable = DISABLE;
  hpcd_USB_OTG_HS.Init.vbus_sensing_enable = DISABLE;
  hpcd_USB_OTG_HS.Init.use_dedicated_ep1 = DISABLE;
  hpcd_USB_OTG_HS.Init.use_external_vbus = DISABLE;
  if (HAL_PCD_Init(&hpcd_USB_OTG_HS) != HAL_OK)
  {
    Error_Handler();
  }

}

static void MX_GPIO_Init(void)
{
  GPIO_InitTypeDef GPIO_InitStruct = {0};

  /* GPIO Ports Clock Enable */
  __HAL_RCC_GPIOC_CLK_ENABLE();
  __HAL_RCC_GPIOE_CLK_ENABLE();
  __HAL_RCC_GPIOB_CLK_ENABLE();
  __HAL_RCC_GPIOA_CLK_ENABLE();
  __HAL_RCC_GPIOD_CLK_ENABLE();
  __HAL_RCC_GPIOH_CLK_ENABLE();

  /*Configure GPIO pin Output Level */
  HAL_GPIO_WritePin(GPIOC, GPIO_PIN_13, GPIO_PIN_RESET);

  /*Configure GPIO pin Output Level */
  HAL_GPIO_WritePin(GPIOD, GPIO_PIN_15|GPIO_PIN_11|GPIO_PIN_14|GPIO_PIN_10
                          |GPIO_PIN_9|GPIO_PIN_8|GPIO_PIN_12, GPIO_PIN_RESET);

  /*Configure GPIO pin : PC13 */
  GPIO_InitStruct.Pin = GPIO_PIN_13;
  GPIO_InitStruct.Mode = GPIO_MODE_OUTPUT_PP;
  GPIO_InitStruct.Pull = GPIO_NOPULL;
  GPIO_InitStruct.Speed = GPIO_SPEED_FREQ_LOW;
  HAL_GPIO_Init(GPIOC, &GPIO_InitStruct);

  /*Configure GPIO pins : PA9 PA10 PA7 */
  GPIO_InitStruct.Pin = GPIO_PIN_9|GPIO_PIN_10|GPIO_PIN_7;
  GPIO_InitStruct.Mode = GPIO_MODE_INPUT;
  GPIO_InitStruct.Pull = GPIO_NOPULL;
  HAL_GPIO_Init(GPIOA, &GPIO_InitStruct);

  /*Configure GPIO pins : PD15 PD11 PD14 PD10
                           PD9 PD8 PD12 */
  GPIO_InitStruct.Pin = GPIO_PIN_15|GPIO_PIN_11|GPIO_PIN_14|GPIO_PIN_10
                          |GPIO_PIN_9|GPIO_PIN_8|GPIO_PIN_12;
  GPIO_InitStruct.Mode = GPIO_MODE_OUTPUT_PP;
  GPIO_InitStruct.Pull = GPIO_NOPULL;
  GPIO_InitStruct.Speed = GPIO_SPEED_FREQ_LOW;
  HAL_GPIO_Init(GPIOD, &GPIO_InitStruct);

  /*Configure GPIO pins : PB0 PB13 PB1 PB12 */
  GPIO_InitStruct.Pin = GPIO_PIN_0|GPIO_PIN_13|GPIO_PIN_1|GPIO_PIN_12;
  GPIO_InitStruct.Mode = GPIO_MODE_INPUT;
  GPIO_InitStruct.Pull = GPIO_NOPULL;
  HAL_GPIO_Init(GPIOB, &GPIO_InitStruct);

  /*Configure GPIO pins : PE8 PE12 PE9 PE13 */
  GPIO_InitStruct.Pin = GPIO_PIN_8|GPIO_PIN_12|GPIO_PIN_9|GPIO_PIN_13;
  GPIO_InitStruct.Mode = GPIO_MODE_INPUT;
  GPIO_InitStruct.Pull = GPIO_NOPULL;
  HAL_GPIO_Init(GPIOE, &GPIO_InitStruct);

}

void Error_Handler(void)
{
  __disable_irq();
  while (1)
  {
  }
}
